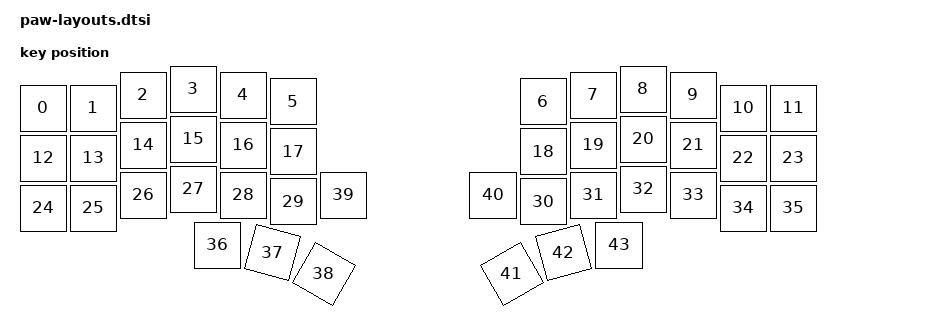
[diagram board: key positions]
#include <physical_layouts.dtsi>

	/ {
    physical_layout0: physical_layout_0 {
        compatible = "zmk,physical-layout";
        display-name = "corne 3x6";
        kscan = <&kscan0>;
        transform = <&matrix_transform0>;
keys  //                     w   h    x    y     rot    rx    ry
            = <&key_physical_attrs 100 100    0   38       0     0     0>
            , <&key_physical_attrs 100 100  100   38       0     0     0>
            , <&key_physical_attrs 100 100  200   12       0     0     0>
            , <&key_physical_attrs 100 100  300    0       0     0     0>
            , <&key_physical_attrs 100 100  400   12       0     0     0>
            , <&key_physical_attrs 100 100  500   25       0     0     0>
            , <&key_physical_attrs 100 100 1000   25       0     0     0>
            , <&key_physical_attrs 100 100 1100   12       0     0     0>
            , <&key_physical_attrs 100 100 1200    0       0     0     0>
            , <&key_physical_attrs 100 100 1300   12       0     0     0>
            , <&key_physical_attrs 100 100 1400   38       0     0     0>
            , <&key_physical_attrs 100 100 1500   38       0     0     0>
            , <&key_physical_attrs 100 100    0  138       0     0     0>
            , <&key_physical_attrs 100 100  100  138       0     0     0>
            , <&key_physical_attrs 100 100  200  112       0     0     0>
            , <&key_physical_attrs 100 100  300  100       0     0     0>
            , <&key_physical_attrs 100 100  400  112       0     0     0>
            , <&key_physical_attrs 100 100  500  125       0     0     0>
            , <&key_physical_attrs 100 100 1000  125       0     0     0>
            , <&key_physical_attrs 100 100 1100  112       0     0     0>
            , <&key_physical_attrs 100 100 1200  100       0     0     0>
            , <&key_physical_attrs 100 100 1300  112       0     0     0>
            , <&key_physical_attrs 100 100 1400  138       0     0     0>
            , <&key_physical_attrs 100 100 1500  138       0     0     0>
            , <&key_physical_attrs 100 100    0  238       0     0     0>
            , <&key_physical_attrs 100 100  100  238       0     0     0>
            , <&key_physical_attrs 100 100  200  212       0     0     0>
            , <&key_physical_attrs 100 100  300  200       0     0     0>
            , <&key_physical_attrs 100 100  400  212       0     0     0>
            , <&key_physical_attrs 100 100  500  225       0     0     0>
            , <&key_physical_attrs 100 100 1000  225       0     0     0>
            , <&key_physical_attrs 100 100 1100  212       0     0     0>
            , <&key_physical_attrs 100 100 1200  200       0     0     0>
            , <&key_physical_attrs 100 100 1300  212       0     0     0>
            , <&key_physical_attrs 100 100 1400  238       0     0     0>
            , <&key_physical_attrs 100 100 1500  238       0     0     0>
            , <&key_physical_attrs 100 100  348  312       0     0     0>
            , <&key_physical_attrs 100 100  348  312    1500   398   790>
            , <&key_physical_attrs 100 100  348  312    3000   398   790>
            , <&key_physical_attrs 100 100  600  212       0     0     0>
            , <&key_physical_attrs 100 100  900  212       0     0     0>
            , <&key_physical_attrs 100 100 1152  312 (-3000)  1202   790>
            , <&key_physical_attrs 100 100 1152  312 (-1500)  1202   790>
            , <&key_physical_attrs 100 100 1152  312       0     0     0>
            ;
			};
};

/* ===========================================================================
 * DYA Studio: 键盘图上画出非按键部件 (Physical Layout 扩展)
 * 参考: https://studio.dya.cormoran.works/developer-guide/modules/keymap
 *       https://github.com/cormoran/zmk-feature-module-physical-layout
 *       cormoran/zmk-keyboard-dya2 的 dya2.dtsi 里 trackball_layout 节点
 *
 * 坐标单位与上面的 &key_physical_attrs 完全一致（一个按键 = 100）。
 * 下面这些 x / y 是我按常见布局估的位置，画出来偏了就直接改数值，
 * 不影响固件功能（纯 UI 显示）。
 * ===========================================================================
 */
/ {
    /* 左半（中央侧）自己的轨迹球：指向本半的 mouse processor */
    trackball_layout_left: trackball_layout_left {
        compatible = "cormoran,physical-layout-trackball";
        display-name = "Trackball (L)";
        size = <150>;
        x = <160>;
        y = <430>;
        linked-device-identifiers = "mouse";
        linked-subsystems = "cormoran_rip";
    };

    /* 右半（外周侧）的轨迹球：它的事件经 split 传到中央侧，
     * 由 pmw_listener 上的 tsplit processor 处理 */
    trackball_layout_right: trackball_layout_right {
        compatible = "cormoran,physical-layout-trackball";
        display-name = "Trackball (R)";
        size = <150>;
        x = <1290>;
        y = <430>;
        linked-device-identifiers = "tsplit";
        linked-subsystems = "cormoran_rip";
    };

    /* 旋钮：数组顺序必须与 ZMK 的 encoder 索引一致。
     * paw.dtsi 里 sensors = <&left_encoder &right_encoder>，
     * 所以索引 0 = 左旋钮，1 = 右旋钮。 */
    encoders_layout: encoders_layout {
        compatible = "cormoran,physical-layout-rotary-encoders";
        display-name = "Rotary Encoders";
        encoders = <&encoder_layout_left &encoder_layout_right>;
    };

    encoder_layout_left: encoder_layout_left {
        compatible = "cormoran,physical-layout-rotary-encoder";
        size = <110>;
        x = <380>;
        y = <450>;
    };

    encoder_layout_right: encoder_layout_right {
        compatible = "cormoran,physical-layout-rotary-encoder";
        size = <110>;
        x = <1110>;
        y = <450>;
    };
};
